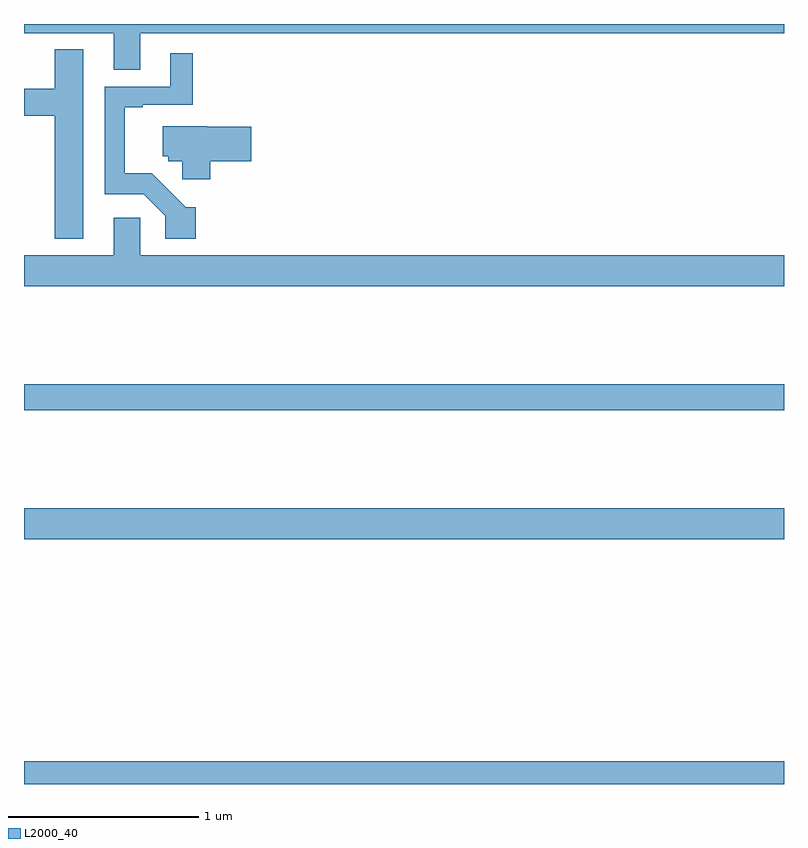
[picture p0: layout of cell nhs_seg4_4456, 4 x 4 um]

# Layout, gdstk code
import gdstk
lib = gdstk.Library(unit=1e-6, precision=1e-09)
def R(c, l, rs):  # rectangles x0, y0, x1, y1
    for r in rs: c.add(gdstk.rectangle(r[:2], r[2:], *l))
def P(c, l, *ps):  # polygons
    for p in ps: c.add(gdstk.Polygon(p, *l))
L2000_40 = (2000, 40)

nhs_seg4_4456 = lib.new_cell('nhs_seg4_4456')
R(nhs_seg4_4456, L2000_40, [(351,760.9,355,761.02), (351,762.188,355,762.352), (351,762.868,355,763.004)])
P(nhs_seg4_4456, L2000_40, [(351.613,764.852),(355,764.852),(355,764.9),(351,764.9),(351,764.852),(351.473,764.852),(351.473,764.658),(351.613,764.658)],
  [(351.313,764.767),(351.161,764.767),(351.161,764.559),(351,764.559),(351,764.417),(351.161,764.417),(351.161,763.769),(351.313,763.769)],
  [(351.905,763.936),(351.851,763.936),(351.673,764.114),(351.529,764.114),(351.529,764.463),(351.625,764.463),(351.625,764.475),(351.887,764.475),(351.887,764.746),(351.77,764.746),(351.77,764.571),(351.425,764.571),(351.425,764.004),(351.63,764.004),(351.744,763.89),(351.744,763.77),(351.905,763.77)],
  [(351.98,764.177),(352.195,764.177),(352.195,764.36),(351.963,764.36),(351.963,764.362),(351.731,764.362),(351.731,764.205),(351.759,764.205),(351.759,764.178),(351.834,764.178),(351.834,764.084),(351.98,764.084)],
  [(355,763.684),(351.612,763.684),(351.612,763.879),(351.473,763.879),(351.473,763.684),(351,763.684),(351,763.52),(355,763.52)])

lib.write_gds('nhs_seg4_4456.gds')
